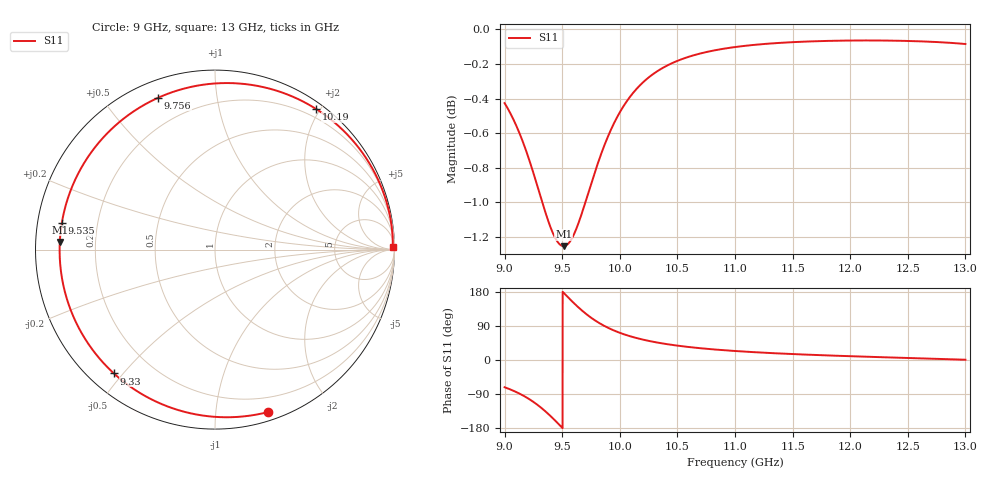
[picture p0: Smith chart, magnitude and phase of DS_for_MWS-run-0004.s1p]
! TOUCHSTONE file generated by CST DESIGN STUDIO
! Date and time: Tue Feb  4 17:15:56 2025
! Project name: C:\Work\MatlabApps\UnitCellOptimizationMatlab\CST\unitcell.cst
! Tree item: Tasks\Sweep1\SPara1\S-Parameters
! Header version: 2024
! Port assignment regex: !\s*Touchstone port\s*([0-9]+)\s*=\s*(CST MWS port|CST DES external port|CST DES block port)\s*(.+)\s* \(\"(.*)\"\)(\s*mode\s*([0-9]+))?.*
! Touchstone port assignment:
! Touchstone port 1 = CST DES external port 1 ("")
# GHz S MA R 50
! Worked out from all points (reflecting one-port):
!   4001 points, 9 GHz to 13 GHz, reference 50 ohm
!   lowest |S11| = -1.3 dB at 9.513 GHz (marker M1), VSWR 13.89, Z = 3.6 + j1.23 ohm
!   phase of S11 starts at -72 deg and turns -287 deg over the sweep
!   S11 on the Smith chart (normalised r, x): 9 GHz: 0.07, -1.38; 9.33 GHz: 0.07, -0.47; 9.535 GHz: 0.07, +0.08; 9.756 GHz: 0.08, +0.69; 10.19 GHz: 0.09, +1.95; 13 GHz: open
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9  0.9522 -71.9
9.088  0.9401 -82.7
9.191  0.9216 -99.0
9.263  0.906 -113.4
9.33  0.8907 -129.2
9.375  0.8811 -141.2
9.423  0.8727 -155.1
9.462  0.868 -166.9
9.5  0.8659 -178.8
9.513  0.8657 177.2
9.535  0.8662 170.3
9.588  0.8707 154.1
9.649  0.8806 136.6
9.702  0.8915 122.9
9.756  0.9034 110.5
9.806  0.9141 100.4
9.861  0.9248 90.7
10  0.9464 71.8
10.092  0.9565 62.5
10.194  0.9649 54.3
10.334  0.973 45.6
10.5  0.9793 37.9
10.722  0.9846 30.4
11  0.9884 23.8
11.5  0.9916 15.7
12  0.9927 10.0
12.5  0.9924 5.3
13  0.9904 0.7
